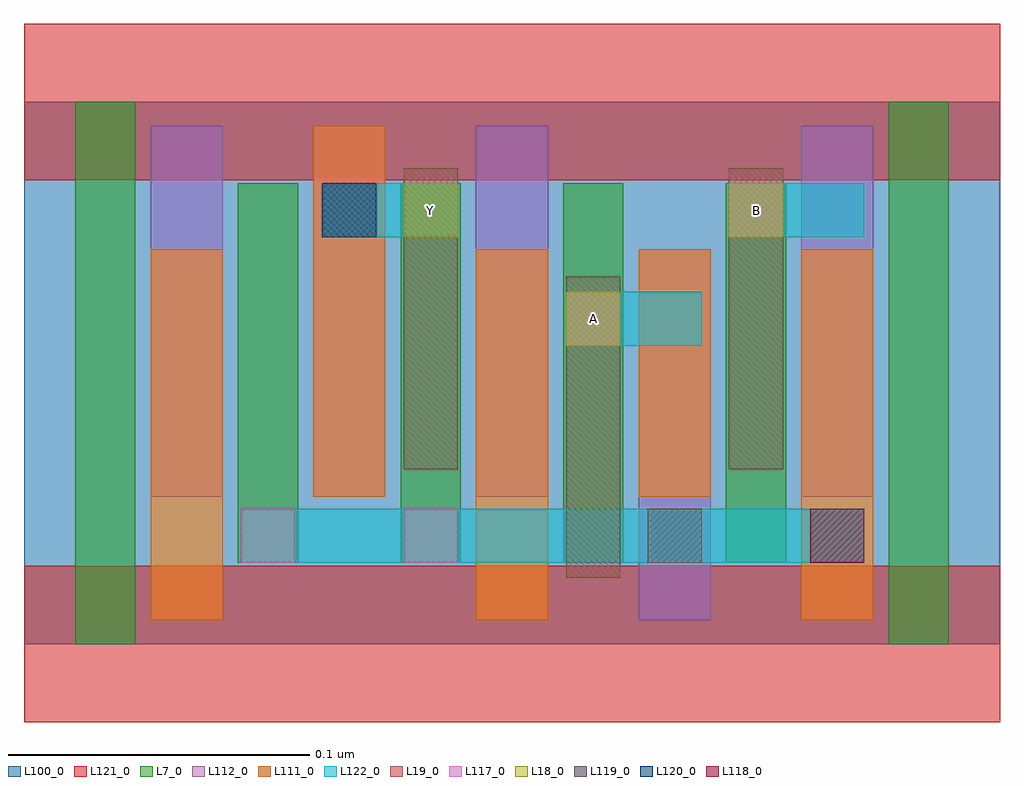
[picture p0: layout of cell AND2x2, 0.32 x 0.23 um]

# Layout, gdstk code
import gdstk
lib = gdstk.Library(unit=1e-6, precision=2.5e-10)
def R(c, l, rs):  # rectangles x0, y0, x1, y1
    for r in rs: c.add(gdstk.rectangle(r[:2], r[2:], *l))
def A(c, l, x, y, w, h, nx, ny, dx, dy):  # array of equal rectangles
    R(c, l, [(x+i*dx, y+j*dy, x+i*dx+w, y+j*dy+h) for i in range(nx) for j in range(ny)])
L7_0 = (7, 0)
L18_0 = (18, 0)
L19_0 = (19, 0)
L100_0 = (100, 0)
L111_0 = (111, 0)
L112_0 = (112, 0)
L117_0 = (117, 0)
L118_0 = (118, 0)
L119_0 = (119, 0)
L120_0 = (120, 0)
L121_0 = (121, 0)
L122_0 = (122, 0)

and2x2 = lib.new_cell('AND2x2')
A(and2x2, L7_0, 0.071, 0.027, 0.02, 0.126, 4, 1, 0.054, 0)
R(and2x2, L7_0, [(0.017,0,0.037,0.18), (0.287,0,0.307,0.18)])
R(and2x2, L18_0, [(0.18,0.099,0.198,0.117), (0.126,0.135,0.144,0.153), (0.234,0.135,0.252,0.153)])
R(and2x2, L19_0, [(0.18,0.022,0.198,0.122), (0.126,0.058,0.144,0.158), (0.234,0.058,0.252,0.158)])
R(and2x2, L100_0, [(0,0,0.324,0.18)])
A(and2x2, L111_0, 0.042, 0.008, 0.024, 0.123, 3, 1, 0.108, 0)
R(and2x2, L111_0, [(0.096,0.049,0.12,0.172), (0.204,0.049,0.228,0.131)])
A(and2x2, L112_0, 0.042, 0.049, 0.024, 0.123, 3, 1, 0.054, 0)
R(and2x2, L112_0, [(0.204,0.008,0.228,0.131), (0.258,0.049,0.282,0.172)])
R(and2x2, L117_0, [(0.072,0.027,0.09,0.045), (0.126,0.027,0.144,0.045), (0.18,0.099,0.198,0.117), (0.234,0.135,0.252,0.153)])
R(and2x2, L118_0, [(0.261,0.027,0.279,0.045)])
R(and2x2, L119_0, [(0.207,0.027,0.225,0.045), (0.099,0.135,0.117,0.153)])
R(and2x2, L120_0, [(0.099,0.135,0.117,0.153)])
R(and2x2, L121_0, [(0,-0.026,0.324,0.026), (0,0.154,0.324,0.206)])
R(and2x2, L122_0, [(0.072,0.027,0.279,0.045), (0.18,0.099,0.225,0.117), (0.099,0.135,0.144,0.153), (0.234,0.135,0.279,0.153)])
and2x2.add(gdstk.Label('Y', (0.135,0.144), layer=19, texttype=251))
and2x2.add(gdstk.Label('B', (0.243,0.144), layer=19, texttype=251))
and2x2.add(gdstk.Label('A', (0.189,0.108), layer=19, texttype=251))

lib.write_gds('AND2x2.gds')
